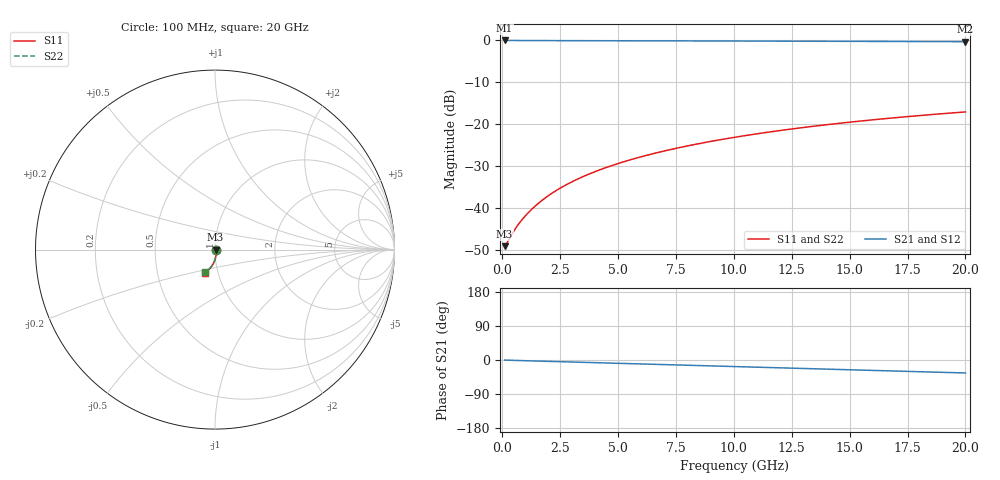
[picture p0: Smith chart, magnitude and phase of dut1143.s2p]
! Touchstone file exported from HFSS 2026.1.0
!  File:  C:/ffzhzh/LocalFiles/Ansys_Project_Files/temp_train_TMRDL_1143_1783161996_51560.aedt
!  Generated:  06:47:46 PM Jul  4, 2026
!  Design:  TMRDL
!  Project:  temp_train_TMRDL_1143_1783161996_51560
! Variables:
!  h_bsmrdl = 2um
!  h_ox = 20um
!  h_rdl = 5um
!  h_sub = 80um
!  h_tmrdl = 2.96um
!  h_tsv = 80um
!  h_via = 3um
!  l_bsmrdl = 300um
!  l_sub = 985.29um
!  l_tmrdl = 585.29um
!  m_sub = 200um
!  pitch = 23.52um
!  r_tsv = 6um
!  s_tmrdl = 10um
!  w_bsmrdl = 18um
!  w_sub = 500um
!  w_tmrdl = 21.71um
!  x_tsv_center1 = 596.145um
!  x_tsv_center2 = 914.145um
!  x_tsv_center3 = 1521.145um
!  x_tsv_center4 = 1839.145um
!  x_tsv_center5 = 2446.145um
!  x_tsv_center6 = 2764.145um
# GHz S MA R 50.000000
! Terminal data exported
! Port[1] = TM_RDL1_1_T1
! Port[2] = TM_RDL1_1_T2
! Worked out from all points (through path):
!   200 points, 100 MHz to 20 GHz, reference 50 ohm
!   highest |S21| = -0.03 dB at 100 MHz (marker M1); lowest = -0.3 dB at 20 GHz (marker M2)
!   group delay of S21, straight-line fit = 4.73 ps
!   lowest |S11| = -49.0 dB at 100 MHz (marker M3), VSWR 1.01, Z = 50.4 + j0.00729 ohm
!   |S11| at or under -10 dB: start of sweep to end of sweep
!   |S22| runs from -49.0 to -17.1 dB; largest |S21 - S12| = 4e-15
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0.1  0.003533 1.2  0.9965 -0.2  0.9965 -0.2  0.003533 1.2
! Gamma 0 0 0 0
! Port Impedance 50 0 50 0
0.2  0.003855 0.6  0.9961 -0.4  0.9961 -0.4  0.003855 0.6
0.5  0.005355 -11.2  0.9947 -1.0  0.9947 -1.0  0.005353 -11.2
0.7  0.006458 -21.3  0.9939 -1.4  0.9939 -1.4  0.006455 -21.3
1  0.00815 -34.3  0.9931 -1.9  0.9931 -1.9  0.008146 -34.3
1.2  0.009309 -41.1  0.9927 -2.2  0.9927 -2.2  0.009303 -41.1
1.4  0.01049 -46.7  0.9924 -2.6  0.9924 -2.6  0.01049 -46.8
1.8  0.01293 -55.3  0.992 -3.3  0.992 -3.3  0.01292 -55.4
2.3  0.01607 -62.7  0.9915 -4.1  0.9915 -4.1  0.01606 -62.8
2.9  0.01995 -68.9  0.991 -5.2  0.991 -5.2  0.01993 -69.0
3.5  0.02391 -73.3  0.9904 -6.2  0.9904 -6.2  0.02388 -73.4
4.2  0.02861 -77.1  0.9897 -7.5  0.9897 -7.5  0.02858 -77.3
5  0.03408 -80.6  0.9888 -8.9  0.9888 -8.9  0.03404 -80.7
5.9  0.04034 -83.7  0.9876 -10.4  0.9876 -10.4  0.04029 -83.9
6.8  0.0467 -86.4  0.9864 -12.0  0.9864 -12.0  0.04663 -86.6
8.4  0.05816 -90.5  0.984 -14.7  0.984 -14.7  0.05807 -90.8
10.1  0.07049 -94.4  0.9813 -17.7  0.9813 -17.7  0.07037 -94.7
11.7  0.08214 -97.8  0.9786 -20.4  0.9786 -20.4  0.08198 -98.1
13.4  0.09447 -101.2  0.9756 -23.2  0.9756 -23.2  0.09427 -101.6
15  0.1059 -104.4  0.9727 -25.9  0.9727 -25.9  0.1057 -104.8
16.7  0.1179 -107.7  0.9696 -28.7  0.9696 -28.7  0.1177 -108.2
20  0.1403 -113.8  0.9635 -34.2  0.9635 -34.2  0.14 -114.4
